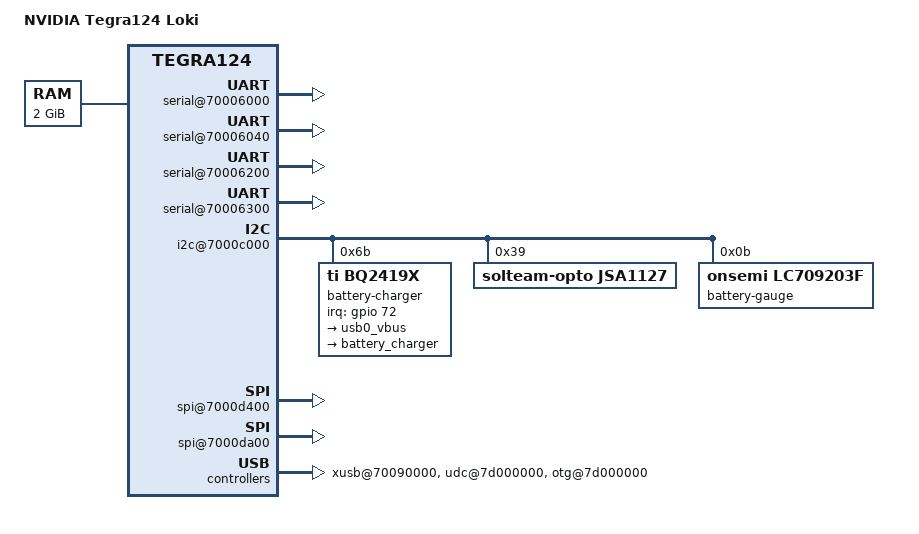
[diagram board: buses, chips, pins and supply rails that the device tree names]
/*
 * Copyright (c) 2014, NVIDIA CORPORATION.  All rights reserved.
 *
 * This program is free software; you can redistribute it and/or modify it
 * under the terms and conditions of the GNU General Public License,
 * version 2, as published by the Free Software Foundation.
 *
 * This program is distributed in the hope it will be useful, but WITHOUT
 * ANY WARRANTY; without even the implied warranty of MERCHANTABILITY or
 * FITNESS FOR A PARTICULAR PURPOSE.  See the GNU General Public License for
 * more details.
 */

/dts-v1/;

#include "tegra124-soc-shield.dtsi"
#include <dt-bindings/gpio/tegra-gpio.h>
#include <tegra124-platforms/tegra124-loki-gpio-default.dtsi>
#include <tegra124-platforms/tegra124-loki-pinmux.dtsi>
#include <tegra124-platforms/tegra124-loki-camera-a00.dtsi>
#include "tegra124-platforms/tegra124-loki-comms.dtsi"
#include "tegra124-platforms/tegra124-loki-pwm-fan.dtsi"
#include "tegra124-platforms/tegra124-loki-sensor.dtsi"
#include "tegra124-platforms/tegra124-loki-thermal-fan-est.dtsi"

/ {
	model = "NVIDIA Tegra124 Loki";
	compatible = "nvidia,loki", "nvidia,tegra124";
	#address-cells = <2>;
	#size-cells = <2>;

	chosen {
		bootargs = "tegraid=40.0.0.00.00 vmalloc=256M video=tegrafb console=ttyS0,115200n8 earlyprintk";
		linux,initrd-start = <0x85000000>;
		linux,initrd-end = <0x851bc400>;
	};

	firmware {
		android {
			compatible = "android,firmware";
			hardware = "loki";
		};
	};

	serial@70006000 {
		compatible = "nvidia,tegra20-uart";
		console-port;
		dt-override-status-odm-data = <0x00038000 0x00028000>;
	};

	serial@70006040 {
		compatible = "nvidia,tegra114-hsuart";
		status = "okay";
	};

	serial@70006200 {
		compatible = "nvidia,tegra114-hsuart";
		status = "okay";
	};

	serial@70006300 {
		compatible = "nvidia,tegra20-uart", "nvidia,tegra114-hsuart";
		console-port;
		sqa-automation-port;
		dt-override-status-odm-data = <0x00038000 0x00018000>;
	};

	memory@0x80000000 {
		device_type = "memory";
		reg = <0x0 0x80000000 0x0 0x80000000>;
	};

	i2c@7000c000 {
		battery-charger@6b {
			compatible = "ti,bq2419x";
			reg = <0x6b>;
			interrupt-parent = <&gpio>;
			interrupts = <72 0x0>;
			ti,charging-term-current-mA = <100>;

			usb0_vbus: vbus {
				regulator-name = "vbus_regulator";
				ti,otg-iusb-gpio = <&gpio TEGRA_GPIO(I, 4) 0>;
				consumers {
					c1 {
						regulator-consumer-supply = "usb_vbus";
						regulator-consumer-device = "tegra-ehci.0";
					};

					c2 {
						regulator-consumer-supply = "usb_vbus";
						regulator-consumer-device = "tegra-otg";
					};
				};
			};

			battery_charger: charger {
				status = "disabled";
				dt-override-status-odm-data = <0x00C00000 0x00400000>;
				regulator-name = "batt_regulator";
				regulator-max-microamp = <3000000>;
				ti,watchdog-timeout = <160>;
				ti,rtc-alarm-time = <3600>;
				ti,auto-recharge-time = <1800>;
				ti,temp-polling-time-sec = <5>;
				ti,disbale-suspend-during-charging;
				ti,pre-charge-current-limit-milliamp = <768>;
				ti,charge-term-current-limit-milliamp = <384>;
				ti,ir-comp-resister-ohm = <70>;
				ti,ir-comp-voltage-millivolt = <112>;
				ti,thermal-regulation-threshold-degc = <100>;
				consumers {
					c1 {
						regulator-consumer-supply = "usb_bat_chg";
						regulator-consumer-device = "tegra-udc.0";
					};

					c2 {
						regulator-consumer-supply = "usb_bat_chg";
						regulator-consumer-device = "tegra-otg";
					};

				};
			};
		};

		battery-gauge@55 {
			status = "disabled";
			dt-override-status-odm-data = <0x00C00000 0x00400000>;
			compatible = "ti,bq27441";
			reg = <0x55>;
			interrupt-parent = <&gpio>;
			interrupts = <TEGRA_GPIO(Q, 5) 0x0>;
			ti,design-capacity = <7800>;
			ti,design-energy = <28314>;
			ti,taper-rate = <167>;
			ti,terminate-voltage = <3150>;
			ti,v-at-chg-term = <4200>;
			ti,tz-name = "Battery";
		};

		jsa1127@39 {
			compatible = "solteam-opto,jsa1127";
			reg = <0x39>;
			solteam-opto,rint = <100>;
			solteam-opto,integration-time = <2000>;
			solteam-opto,use-internal-integration-timing = <1>;
			solteam-opto,tint-coeff = <22>;
			solteam-opto,noisy = <1>;
		};

		battery-gauge@0b {
			compatible = "onsemi,lc709203f";
			reg = <0x0b>;
			onsemi,tz-name = "Battery";
		};
	};

	i2c@7000d000 {
		nvidia,bit-banging-xfer-after-shutdown;

		tps65913 {
			extcon {
				extcon-name = "palmas-extcon";
			};
		};
	};

	spi@7000d400 {
		status = "okay";
		spi-max-frequency = <25000000>;
	};

	spi@7000da00 {
		status = "okay";
		spi-max-frequency = <25000000>;
	};

	pmc@7000e400 {
		status = "okay";
		nvidia,invert-interrupt;
		nvidia,suspend-mode = <3>;
		nvidia,cpu-pwr-good-time = <500>;
		nvidia,cpu-pwr-off-time = <300>;
		nvidia,core-pwr-good-time = <3845 3845>;
		nvidia,core-pwr-off-time = <2000>;
		nvidia,core-power-req-active-high;
		nvidia,sys-clock-req-active-high;
	};

	xusb@70090000 {
		/* nvidia,uses_external_pmic;
		nvidia,gpio_controls_muxed_ss_lanes; */
		nvidia,gpio_ss1_sata = <0>;
		nvidia,portmap = <0x703>; /* SSP0, SSP1 USB2P0, USB2P1, USBP2 */
		nvidia,ss_portmap = <0x20>; /* SSP0 on USB2P0, SSP1 on USB2P2 */
		nvidia,lane_owner = <6>; /* USB3P0 USB3P1 */
		nvidia,ulpicap = <0>; /* No ulpi support. can we remove */
		usb_vbus0-supply = <&usb0_vbus>;
		status = "okay";
	};

	bthrot_cdev {
		compatible = "nvidia,balanced-throttle";
		skin_balanced {
			status = "disabled";
		};
		gpu_balanced {
			status = "disabled";
		};
		cpu_balanced {
			cdev-type = "tegra-balanced";
		};
		emergency_balanced {
			status = "disabled";
		};
	};

	therm_est_sensor {
		status = "disabled";
	};

	thermal-zones {
		therm_est {
			status = "disabled";
		};
	};

	cpu_edp {
		nvidia,edp_limit = <14000>;
	};

	gpu_edp {
		nvidia,edp_limit = <14000>;
	};

	psy_extcon {
		compatible = "power-supply-extcon";
		power-supply,extcon-dev = "tegra-udc";
		power-supply,y-cable-extcon-dev = "tegra-otg";
		extcon-cables = <&udc 1 &udc 2 &udc 3
				&udc 4 &udc 5 &udc 6
				&udc 7 &udc 8 &udc 9
				&udc 10 &udc 11 &udc 12 &udc 13 &otg 0 &otg 1>;
		extcon-cable-names = "usb-charger", "ta-charger", "maxim-charger",
				"qc2-charger", "downstream-charger","fast-charger",
				"slow-charger", "apple-500ma", "apple-1a",
				"apple-2a", "ACA NV-Charger", "ACA RID-B", "ACA RID-C", "y-cable", "ACA RID-A";
				status = "okay";
	};

	extcon {
		compatible = "simple-bus";
		device_type = "external-connection";
		#address-cells = <1>;
		#size-cells = <0>;

		extcon_cable_xlate: extcon@0 {
			compatible = "extcon-cable-xlate";
			reg = <0x0>;
			extcon-name = "cable-xlate";
			output-cable-names = "USB", "USB-Host", "ACA-A", "Y-Cable", "ACA-B", "ACA-C", "ACA-NV";
			extcon-cables = <&palmas_extcon 0 &palmas_extcon 1 &palmas_extcon 2 &palmas_extcon 3 &palmas_extcon 4>;
			extcon-cable-names = "vbus", "id", "aca-ra", "aca-rb", "aca-rc";
			cable-new-states = <0x0     0x0     0x3F    0x0 0x0
					0x0     0x1     0x3F    0x1   0x0
					0x2     0x1     0x3F    0x0   0x0
					0x0     0x2     0x3F    0x2   0x0
					0x0     0x3     0x3F    0x8   0x0
					0x2     0x3     0x3F    0x2   0x0
					0x3     0x1     0x3F    0x0   0x0
					0x3     0x2     0x3F    0x2   0x0
					0x0     0x5     0x3F    0x4   0x0
					0x0     0x11    0x3F    0x20  0x0
					0x11     0x1    0x3F    0x1  0x0
					0x0     0x8     0x3F    0x10  0x0>;
			#extcon-cells = <1>;
			status = "disabled";
		};
	};

	udc@7d000000 {
		nvidia,id-detection-type = <1>;
		nvidia,enable-pmu-vbus-detection;
		nvidia,enable-aca-rid-detection;
		nvidia,port-otg;
		nvidia,charging-supported;
		nvidia,turn-off-vbus-in-lp0;
		nvidia,dcp-current-limit-ua = <2000000>;
		extcon-cables = <&extcon_cable_xlate 0 &extcon_cable_xlate 4 &extcon_cable_xlate 5>;
		extcon-cable-names = "vbus", "aca-rb", "aca-rc";
		#extcon-cells = <1>;
		avdd_usb-supply = <&palmas_ldousb>;
		avdd_pll_utmip-supply = <&palmas_smps8>;
		usb_bat_chg-supply = <&battery_charger>;
		status = "okay";
	};

	otg@7d000000 {
		nvidia,enable-pmu-vbus-detection;
		nvidia,id-detection-type = <1>;
		nvidia,enable-y-cable-detection;
		nvidia,enable-aca-rid-detection;
		extcon-cables = <&extcon_cable_xlate 0 &extcon_cable_xlate 1 &extcon_cable_xlate 2 &extcon_cable_xlate 3 &extcon_cable_xlate 4 &extcon_cable_xlate 5>;
		extcon-cable-names = "vbus", "id", "aca-ra", "y-cable", "aca-rb", "aca-rc";
		#extcon-cells = <1>;
		usb_bat_chg-supply = <&battery_charger>;
		usb_vbus-supply = <&usb0_vbus>;
		status = "okay";
	};

};
